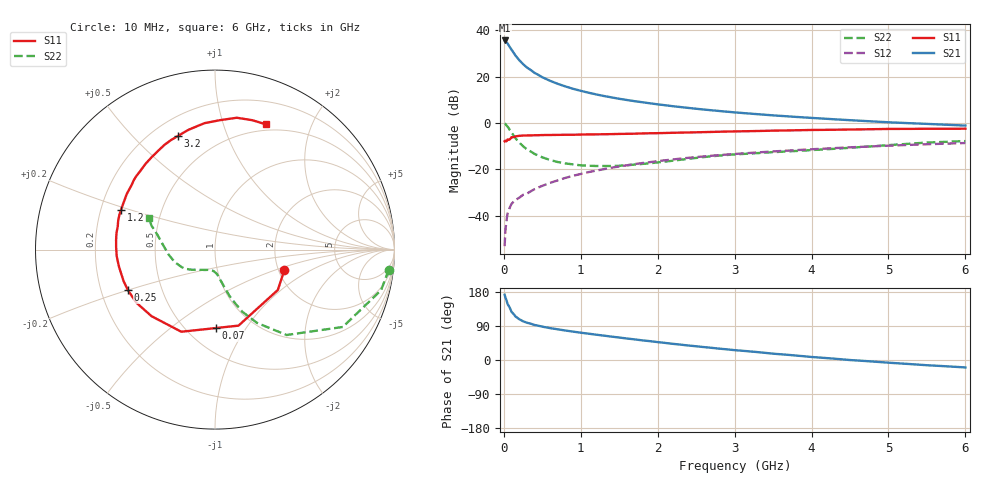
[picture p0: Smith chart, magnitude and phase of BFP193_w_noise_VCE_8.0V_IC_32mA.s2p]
! Infineon Technologies  Discrete & RF Semiconductors
! BFP193
! VCE =  8.0 V,  IC =  32 mA
! Common Emitter S-Parameters:  Jan 2017
# GHz  S  MA  R  50
!  f  S11  S21  S12  S22
! GHz  MAG  ANG  MAG  ANG  MAG  ANG  MAG  ANG
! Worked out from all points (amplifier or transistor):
!   77 points, 10 MHz to 6 GHz, reference 50 ohm
!   highest |S21| = 35.6 dB at 10 MHz (marker M1)
!   |S21| within 3 dB of that: start of sweep to 80.39 MHz
!   unconditionally stable (mu >= 1): 738.8 MHz to 2.472 GHz
!   at 130 MHz: K = 0.48, MSG = 32.0 dB, |S12| = -33.9 dB
!   at 2.2 GHz: K = 1.01, MAG = 10.8 dB, |S12| = -15.7 dB
!   at 6 GHz: K = 0.91, MSG = 3.8 dB, |S12| = -8.6 dB
!   lowest NFmin = 1.24 dB at 450 MHz
!   S11 on the Smith chart (normalised r, x): 10 MHz: 2.15, -0.59; 70 MHz: 0.68, -0.74; 250 MHz: 0.32, -0.20; 1.2 GHz: 0.29, +0.19; 3.2 GHz: 0.30, +0.68; 6 GHz: 0.43, +1.39
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0.01  0.4031 -16.4  60.32 172.2  0.0022 83.8  0.9749 -6.6
0.02  0.4161 -32.7  59.51 165.5  0.0047 85.5  0.9529 -13.7
0.05  0.4434 -72.8  51.49 147.1  0.0114 67.3  0.8324 -31.2
0.07  0.4372 -89.5  45.51 140.5  0.014 63.1  0.739 -37.4
0.1  0.4947 -112.3  38.13 126.9  0.018 59.1  0.6212 -50.0
0.15  0.5124 -133.6  28.69 115.1  0.0217 55.5  0.4717 -60.1
0.2  0.5291 -146.1  22.69 107.7  0.0244 56.2  0.379 -66.2
0.25  0.5352 -155.0  18.64 102.1  0.0282 57.0  0.3154 -69.7
0.3  0.5386 -160.9  15.74 98.4  0.0299 57.9  0.2705 -72.6
0.4  0.5434 -169.8  12.05 92.4  0.0374 60.5  0.2149 -76.0
0.5  0.5489 -176.2  9.704 88.0  0.0441 62.3  0.1815 -78.9
0.7  0.5537 174.4  7.001 81.0  0.0577 64.8  0.144 -83.7
0.9  0.557 166.6  5.462 74.9  0.0725 64.6  0.1277 -89.2
1.1  0.567 159.9  4.505 69.5  0.087 63.6  0.1196 -94.7
1.2  0.5685 156.9  4.136 66.8  0.094 63.3  0.118 -97.9
1.6  0.5838 145.0  3.132 56.7  0.1223 59.7  0.1224 -112.4
2.1  0.6086 131.5  2.41 45.0  0.1569 54.4  0.1473 -130.3
3.1  0.662 109.7  1.643 24.4  0.22 42.7  0.2145 -154.7
3.2  0.6664 107.9  1.595 22.6  0.2257 41.6  0.2192 -156.9
4.1  0.7093 93.2  1.258 6.5  0.2763 31.5  0.2655 -176.4
5.1  0.7449 79.3  1.019 -8.4  0.3287 20.1  0.3415 164.0
6  0.7532 67.9  0.879 -19.6  0.3698 10.2  0.4072 154.5
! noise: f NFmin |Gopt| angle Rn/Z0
0.45  1.24  0.35  -173  0.08
0.9  1.3  0.39  -171  0.07
1.9  1.92  0.58  -136  0.17
2.4  2.25  0.62  -121  0.38
